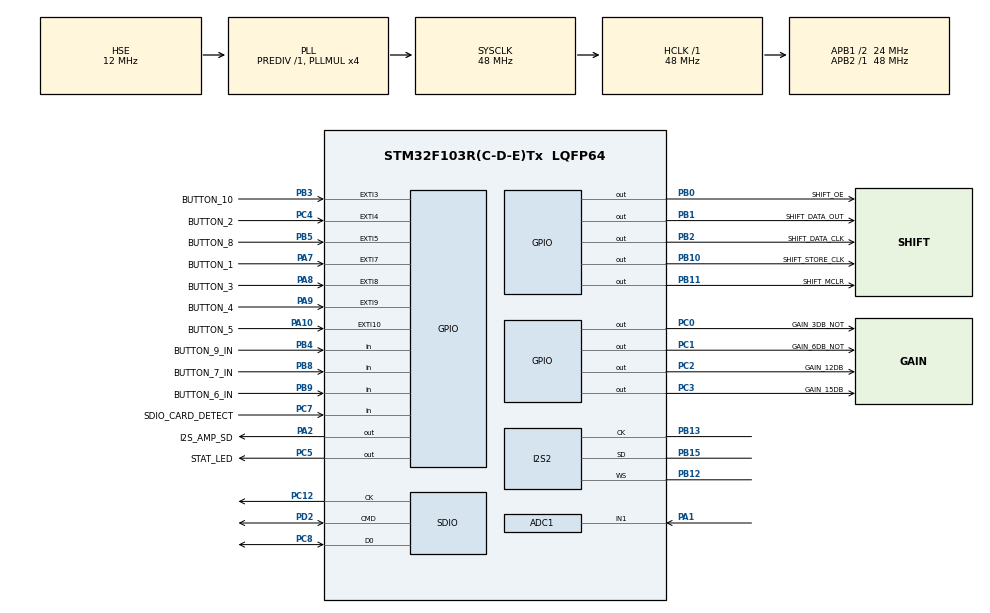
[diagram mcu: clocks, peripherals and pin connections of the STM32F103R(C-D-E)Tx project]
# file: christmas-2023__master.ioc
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ADC1.Channel-0\#ChannelRegularConversion=ADC_CHANNEL_1
ADC1.NbrOfConversionFlag=1
ADC1.Rank-0\#ChannelRegularConversion=1
ADC1.SamplingTime-0\#ChannelRegularConversion=ADC_SAMPLETIME_1CYCLE_5
ADC1.master=1
FATFS.BSP.number=1
FATFS0.BSP.STBoard=false
FATFS0.BSP.api=Unknown
FATFS0.BSP.instance=PC7
FATFS0.BSP.ip=GPIO
FATFS0.BSP.mode=Input
FATFS0.BSP.name=Detect_SDIO
FATFS0.BSP.solution=PC7
I2S2.AudioFreq=I2S_AUDIOFREQ_44K
I2S2.ErrorAudioFreq=0.26 %
I2S2.Instance=SPI$Index
I2S2.RealAudioFreq=44.117 KHz
I2S2.VirtualMode=I2S_MODE_MASTER
Mcu.Family=STM32F1
Mcu.Name=STM32F103R(C-D-E)Tx
Mcu.Package=LQFP64
NVIC.EXTI15_10_IRQn=true\:3\:0\:true\:false\:true\:true\:true\:true
NVIC.EXTI3_IRQn=true\:3\:0\:true\:false\:true\:true\:true\:true
NVIC.EXTI4_IRQn=true\:3\:0\:true\:false\:true\:true\:true\:true
NVIC.EXTI9_5_IRQn=true\:3\:0\:true\:false\:true\:true\:true\:true
NVIC.PriorityGroup=NVIC_PRIORITYGROUP_4
NVIC.SPI2_IRQn=true\:2\:0\:true\:false\:true\:true\:true\:true
NVIC.TIM4_IRQn=true\:0\:0\:false\:false\:true\:true\:true\:true
PA1.Signal=ADCx_IN1
PA10.GPIO_Label=BUTTON_5
PA10.GPIO_PuPd=GPIO_PULLUP
PA10.Signal=GPXTI10
PA13.Mode=Serial_Wire
PA13.Signal=SYS_JTMS-SWDIO
PA14.Mode=Serial_Wire
PA14.Signal=SYS_JTCK-SWCLK
PA2.GPIO_Label=I2S_AMP_SD
PA2.GPIO_PuPd=GPIO_NOPULL
PA2.Signal=GPIO_Output
PA7.GPIO_Label=BUTTON_1
PA7.GPIO_PuPd=GPIO_PULLUP
PA7.Signal=GPXTI7
PA8.GPIO_Label=BUTTON_3
PA8.GPIO_PuPd=GPIO_PULLUP
PA8.Signal=GPXTI8
PA9.GPIO_Label=BUTTON_4
PA9.GPIO_PuPd=GPIO_PULLUP
PA9.Signal=GPXTI9
PB0.GPIO_Label=SHIFT_OE
PB0.Signal=GPIO_Output
PB1.GPIO_Label=SHIFT_DATA_OUT
PB1.Signal=GPIO_Output
PB10.GPIO_Label=SHIFT_STORE_CLK
PB10.Signal=GPIO_Output
PB11.GPIO_Label=SHIFT_MCLR
PB11.Signal=GPIO_Output
PB12.Mode=Half_Duplex_Master_TX
PB12.Signal=I2S2_WS
PB13.Mode=Half_Duplex_Master_TX
PB13.Signal=I2S2_CK
PB15.Mode=Half_Duplex_Master_TX
PB15.Signal=I2S2_SD
PB2.GPIO_Label=SHIFT_DATA_CLK
PB2.Signal=GPIO_Output
PB3.GPIO_Label=BUTTON_10
PB3.GPIO_PuPd=GPIO_PULLUP
PB3.Signal=GPXTI3
PB4.GPIO_Label=BUTTON_9_IN
PB4.GPIO_PuPd=GPIO_PULLUP
PB4.Signal=GPIO_Input
PB5.GPIO_Label=BUTTON_8
PB5.GPIO_PuPd=GPIO_PULLUP
PB5.Signal=GPXTI5
PB8.GPIO_Label=BUTTON_7_IN
PB8.GPIO_PuPd=GPIO_PULLUP
PB8.Signal=GPIO_Input
PB9.GPIO_Label=BUTTON_6_IN
PB9.GPIO_PuPd=GPIO_PULLUP
PB9.Signal=GPIO_Input
PC0.GPIO_Label=GAIN_3DB_NOT
PC0.PinState=GPIO_PIN_SET
PC0.Signal=GPIO_Output
PC1.GPIO_Label=GAIN_6DB_NOT
PC1.PinState=GPIO_PIN_SET
PC1.Signal=GPIO_Output
PC12.Mode=SD_1_bit
PC12.Signal=SDIO_CK
PC2.GPIO_Label=GAIN_12DB
PC2.Signal=GPIO_Output
PC3.GPIO_Label=GAIN_15DB
PC3.Signal=GPIO_Output
PC4.GPIO_Label=BUTTON_2
PC4.GPIO_PuPd=GPIO_PULLUP
PC4.Signal=GPXTI4
PC5.GPIO_Label=STAT_LED
PC5.Signal=GPIO_Output
PC7.GPIO_Label=SDIO_CARD_DETECT
PC7.GPIO_PuPd=GPIO_NOPULL
PC7.Signal=GPIO_Input
PC8.Mode=SD_1_bit
PC8.Signal=SDIO_D0
PD0-OSC_IN.Mode=HSE-External-Oscillator
PD0-OSC_IN.Signal=RCC_OSC_IN
PD1-OSC_OUT.Mode=HSE-External-Oscillator
PD1-OSC_OUT.Signal=RCC_OSC_OUT
PD2.Mode=SD_1_bit
PD2.Signal=SDIO_CMD
ProjectManager.HeapSize=0x200
ProjectManager.StackSize=0x400
ProjectManager.TargetToolchain=STM32CubeIDE
RCC.ADCPresc=RCC_ADCPCLK2_DIV6
RCC.AHBFreq_Value=48000000
RCC.APB1CLKDivider=RCC_HCLK_DIV2
RCC.APB1Freq_Value=24000000
RCC.APB1TimFreq_Value=48000000
RCC.APB2Freq_Value=48000000
RCC.APB2TimFreq_Value=48000000
RCC.HCLKFreq_Value=48000000
RCC.HSE_VALUE=12000000
RCC.PLLMUL=RCC_PLL_MUL4
RCC.PLLSourceVirtual=RCC_PLLSOURCE_HSE
RCC.SYSCLKFreq_VALUE=48000000
RCC.SYSCLKSource=RCC_SYSCLKSOURCE_PLLCLK
RCC.USBFreq_Value=48000000
SDIO.ClockDiv=4
SH.ADCx_IN1.0=ADC1_IN1,IN1
TIM4.Period=999
TIM4.Prescaler=9601-1
VP_FATFS_VS_SDIO.Mode=SDIO
VP_TIM4_VS_ClockSourceINT.Mode=Internal
board=custom

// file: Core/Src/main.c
/* USER CODE BEGIN Header */
/**
  ******************************************************************************
  * @file           : main.c
  * @brief          : Main program body
  ******************************************************************************
  * @attention
  *
  * Copyright (c) 2023 STMicroelectronics.
  * All rights reserved.
  *
  * This software is licensed under terms that can be found in the LICENSE file
  * in the root directory of this software component.
  * If no LICENSE file comes with this software, it is provided AS-IS.
  *
  ******************************************************************************
  */
/* USER CODE END Header */
#include "main.h"
#include "fatfs.h"

/* USER CODE BEGIN Includes */

#include <string.h>
#include <stdlib.h>
#include <stdbool.h>
#include <stdio.h>
#include "wav.h"
#include <stdarg.h>
#include <math.h>

/* USER CODE END Includes */

ADC_HandleTypeDef hadc1;

I2S_HandleTypeDef hi2s2;

SD_HandleTypeDef hsd;

TIM_HandleTypeDef htim4;

/* USER CODE BEGIN PV */

// Debug LED on PCB
const uint16_t debugLED = GPIO_PIN_5;		// Port C

/*
 * Shift register Pins
 */
uint16_t shiftData = GPIO_PIN_1;			// Port B
uint16_t shiftDataClock = GPIO_PIN_2; 		// Port B
uint16_t shiftStoreClock = GPIO_PIN_10;		// Port B
uint16_t shiftOutputEnable = GPIO_PIN_0;	// Port B
uint16_t shiftMCLR = GPIO_PIN_11;			// Port B

// ADC Pin
uint16_t ADC_IN = GPIO_PIN_1; 				// Port A

// Button Input Pins
uint16_t buttonIn_1 = GPIO_PIN_7;			// Port A
uint16_t buttonIn_2 = GPIO_PIN_4;			// Port C
uint16_t buttonIn_3 = GPIO_PIN_8;			// Port	A
uint16_t buttonIn_4 = GPIO_PIN_9;			// Port A
uint16_t buttonIn_5 = GPIO_PIN_10;			// Port A
uint16_t buttonIn_6 = GPIO_PIN_9;			// Port B
uint16_t buttonIn_7 = GPIO_PIN_8;			// Port B
uint16_t buttonIn_8 = GPIO_PIN_5;			// Port B
uint16_t buttonIn_9 = GPIO_PIN_4;			// Port B
uint16_t buttonIn_10 = GPIO_PIN_3;			// Port B

// Amplifier Gain Control Pins
uint16_t gain_3DB_N = GPIO_PIN_0;			// Port C
uint16_t gain_6DB_N = GPIO_PIN_1;			// Port C
uint16_t gain_12DB = GPIO_PIN_2;			// Port C
uint16_t gain_15DB = GPIO_PIN_3;			// Port C

// For setting GPIO high or low in a more pretty fashion
GPIO_PinState GPIOPinSet[2] = {GPIO_PIN_RESET, GPIO_PIN_SET};

// Play index keeps track of which wav file should be
// played on the next playWavFile() call
static uint8_t playIndex = 0;

/*
 *  Volume keeps track of which amplifier gain should be selected
 *  Will take on values in the range 0-4
 *  0 = 3dB
 *  1 = 6dB
 *  2 = 9dB
 *  3 = 12dB
 *  4 = 15dB
 */
static uint8_t volume = 2;

/*
 * Array of all possible LED volume bar values that
 * might be shifted into the shift register.
 * Ordered highest volume display to lowest volume display
 */
static uint8_t shiftBytes[8] = {0b10000000, 0b01000000, 0b00100000, 0b00010000,
								0b00001000, 0b00000100, 0b00000010, 0b00000001};

/* USER CODE END PV */

void SystemClock_Config(void);
static void MX_GPIO_Init(void);
static void MX_SDIO_SD_Init(void);
static void MX_I2S2_Init(void);
static void MX_ADC1_Init(void);
static void MX_TIM4_Init(void);

/* USER CODE BEGIN 0 */

FATFS fs;						// Object to set up FATFS on SD card

/*
 * flags and buffers for data loading and transmission
 */
volatile bool end_of_file_reached = false;
volatile bool read_next_chunk = false;
volatile uint16_t* signal_play_buff = NULL;
volatile uint16_t* signal_read_buff = NULL;
volatile uint16_t signal_buff1[4096];
volatile uint16_t signal_buff2[4096];

/*
 * All 11 strings of file names
 * fileNames[0] = short, silent wav file that plays when idling
 * fileNames[1-10] = movie soundbites, ordered based on button order
 */

char *fileNames[] = {"blank.wav", "yard.wav", "shit.wav", "gift.wav", "nut.wav", "grace.wav",
					"dump.wav", "treeBig.wav", "kma.wav", "wint.wav", "rant.wav"};

/*
 * Callback function for I2S TX completion
 * Enters upon I2S global interrupt
 * Transmits another chunk of data
 */
void HAL_I2S_TxCpltCallback(I2S_HandleTypeDef *hi2s) {
    if(end_of_file_reached)
        return;

    volatile uint16_t* temp = signal_play_buff;
    signal_play_buff = signal_read_buff;
    signal_read_buff = temp;

    int nsamples = sizeof(signal_buff1) / sizeof(signal_buff1[0]);
    HAL_I2S_Transmit_IT(&hi2s2, (uint16_t*)signal_play_buff, nsamples);
    read_next_chunk = true;
}

/*
 * - Opens file with file name of passed argument using f_open()
 * - Checks WAV file header format and data structuring,
 *   returns EXIT_FAILURE if a file cannot be played.
 * - Transmits data using I2S TX IT function,
 *   which will enter the TX Cplt callback function to transmit another chunk of data
 * - Enters a loop to move the file pointer when I2S is available to TX more data
 */
int playWavFile(const char* fname) {

    FIL file;
    FRESULT res = f_open(&file, fname, FA_READ);
    if(res != FR_OK) {
        return EXIT_FAILURE;
    }

    unsigned int bytesRead;
    uint8_t header[44];
    res = f_read(&file, header, sizeof(header), &bytesRead);
    if(res != FR_OK) {
        f_close(&file);
        return EXIT_FAILURE;
    }

    if(memcmp((const char*)header, "RIFF", 4) != 0) {
        f_close(&file);
        return EXIT_FAILURE;
    }

    if(memcmp((const char*)header + 8, "WAVEfmt ", 8) != 0) {
        f_close(&file);
        return EXIT_FAILURE;
    }

    if(memcmp((const char*)header + 36, "data", 4) != 0) {
        f_close(&file);
        return EXIT_FAILURE;
    }

//    uint32_t fileSize = 8 + (header[4] | (header[5] << 8) | (header[6] << 16) | (header[7] << 24));
    uint32_t headerSizeLeft = header[16] | (header[17] << 8) | (header[18] << 16) | (header[19] << 24);
    uint16_t compression = header[20] | (header[21] << 8);
    uint16_t channelsNum = header[22] | (header[23] << 8);
    uint32_t sampleRate = header[24] | (header[25] << 8) | (header[26] << 16) | (header[27] << 24);
    uint32_t bytesPerSecond = header[28] | (header[29] << 8) | (header[30] << 16) | (header[31] << 24);
    uint16_t bytesPerSample = header[32] | (header[33] << 8);
    uint16_t bitsPerSamplePerChannel = header[34] | (header[35] << 8);
    uint32_t dataSize = header[40] | (header[41] << 8) | (header[42] << 16) | (header[43] << 24);

//    UART_Printf(
//        "--- WAV header ---\r\n"
//        "File size: %lu\r\n"
//        "Header size left: %lu\r\n"
//        "Compression (1 = no compression): %d\r\n"
//        "Channels num: %d\r\n"
//        "Sample rate: %ld\r\n"
//        "Bytes per second: %ld\r\n"
//        "Bytes per sample: %d\r\n"
//        "Bits per sample per channel: %d\r\n"
//        "Data size: %ld\r\n"
//        "------------------\r\n",
//        fileSize, headerSizeLeft, compression, channelsNum, sampleRate, bytesPerSecond, bytesPerSample,
//        bitsPerSamplePerChannel, dataSize);

    if(headerSizeLeft != 16) {
        //UART_Printf("Wrong `headerSizeLeft` value, 16 expected\r\n");
        f_close(&file);
        return EXIT_FAILURE;
    }

    if(compression != 1) {
        //UART_Printf("Wrong `compression` value, 1 expected\r\n");
        f_close(&file);
        return EXIT_FAILURE;
    }

    if(channelsNum != 2) {
        //UART_Printf("Wrong `channelsNum` value, 2 expected\r\n");
        f_close(&file);
        return EXIT_FAILURE;
    }

    if((sampleRate != 44100) || (bytesPerSample != 4) || (bitsPerSamplePerChannel != 16) || (bytesPerSecond != 44100*2*2)
       || (dataSize < sizeof(signal_buff1) + sizeof(signal_buff2))) {
        //UART_Printf("Wrong file format, 16 bit file with sample rate 44100 expected\r\n");
        f_close(&file);
        return EXIT_FAILURE;
    }

    res = f_read(&file, (uint8_t*)signal_buff1, sizeof(signal_buff1), &bytesRead);
    if(res != FR_OK) {
        //UART_Printf("f_read() failed, res = %d\r\n", res);
        f_close(&file);
        return EXIT_FAILURE;
    }

    res = f_read(&file, (uint8_t*)signal_buff2, sizeof(signal_buff2), &bytesRead);
    if(res != FR_OK) {
        //UART_Printf("f_read() failed, res = %d\r\n", res);
        f_close(&file);
        return EXIT_FAILURE;
    }

    read_next_chunk = true;
    end_of_file_reached = false;
    signal_play_buff = signal_buff1;
    signal_read_buff = signal_buff2;

    HAL_StatusTypeDef hal_res;
    int nsamples = sizeof(signal_buff1) / sizeof(signal_buff1[0]);
    hal_res = HAL_I2S_Transmit_IT(&hi2s2, (uint16_t*)signal_buff1, nsamples);
    // hal_res = HAL_I2S_Transmit(&hi2s2, (uint16_t*)signal_buff1, nsamples, 2000);
    if(hal_res != HAL_OK) {
        //UART_Printf("I2S - HAL_I2S_Transmit failed, hal_res = %d!\r\n", hal_res);
        f_close(&file);
        return EXIT_FAILURE;
    }

    while(dataSize >= sizeof(signal_buff1)) {
        if(!read_next_chunk) {
            continue;
        }

        read_next_chunk = false;

        res = f_read(&file, (uint8_t*)signal_read_buff, sizeof(signal_buff1), &bytesRead);
        if(res != FR_OK) {
            //UART_Printf("f_read() failed, res = %d\r\n", res);
            f_close(&file);
            return EXIT_FAILURE;
        }

        dataSize -= sizeof(signal_buff1);
    }

    end_of_file_reached = true;

    res = f_close(&file);
    if(res != FR_OK) {
        //UART_Printf("f_close() failed, res = %d\r\n", res);
        return EXIT_FAILURE;
    }

    playIndex = 0;

    return 0;
}

/* USER CODE END 0 */

int main(void)
{

  /* MCU Configuration--------------------------------------------------------*/

  /* Reset of all peripherals, Initializes the Flash interface and the Systick. */
  HAL_Init();

  /* Configure the system clock */
  SystemClock_Config();

  /* Initialize all configured peripherals */
  MX_GPIO_Init();
  MX_SDIO_SD_Init();
  MX_FATFS_Init();
  MX_I2S2_Init();
  MX_ADC1_Init();
  MX_TIM4_Init();
  /* USER CODE BEGIN 2 */

  // Calibrate ADC
  HAL_ADCEx_Calibration_Start(&hadc1);

  // Start timer to check ADC on interrupts
  HAL_TIM_Base_Start_IT(&htim4);

  // Clear any existing shift register data
  	HAL_GPIO_WritePin(GPIOB, shiftMCLR, GPIOPinSet[0]);
  	HAL_GPIO_WritePin(GPIOB, shiftMCLR, GPIOPinSet[1]);

  	// Store cleared data and Enable output
  	HAL_GPIO_WritePin(GPIOB, shiftStoreClock, GPIOPinSet[1]);
  	HAL_GPIO_WritePin(GPIOB, shiftStoreClock, GPIOPinSet[0]);
  	HAL_GPIO_WritePin(GPIOB, shiftOutputEnable, GPIOPinSet[0]);

  	// Initialize FAT file system within SD card
    FRESULT res = f_mount(&fs, "XMAS-23", 1);
	 if(res != FR_OK) {
	   return EXIT_FAILURE;
	 }

  /* USER CODE END 2 */

  /* Infinite loop */
  /* USER CODE BEGIN WHILE */
  while (1)
  {

	  /*
	   * Always play WavFile, which is usually blank.wav
	   * playIndex is changed by GPIO EXTI handler
	   */
	  playWavFile(fileNames[playIndex]);
	  if (HAL_I2S_Init(&hi2s2) != HAL_OK)
		   Error_Handler();

	  /*
	   * Some GPIOs in Mk. I are incompatible with EXTI,
	   * so they require loop checking
	   */
	  if(HAL_GPIO_ReadPin(GPIOB, buttonIn_6) == GPIOPinSet[0]) {
		  playIndex = 6;
	  }
	  if(HAL_GPIO_ReadPin(GPIOB, buttonIn_7) == GPIOPinSet[0]) {
		  playIndex = 7;
	  }
	  if(HAL_GPIO_ReadPin(GPIOB, buttonIn_9) == GPIOPinSet[0]) {
		  playIndex = 9;
	  }

    /* USER CODE END WHILE */

  }
}

void SystemClock_Config(void)
{
  RCC_OscInitTypeDef RCC_OscInitStruct = {0};
  RCC_ClkInitTypeDef RCC_ClkInitStruct = {0};
  RCC_PeriphCLKInitTypeDef PeriphClkInit = {0};

  /** Initializes the RCC Oscillators according to the specified parameters
  * in the RCC_OscInitTypeDef structure.
  */
  RCC_OscInitStruct.OscillatorType = RCC_OSCILLATORTYPE_HSE;
  RCC_OscInitStruct.HSEState = RCC_HSE_ON;
  RCC_OscInitStruct.HSEPredivValue = RCC_HSE_PREDIV_DIV1;
  RCC_OscInitStruct.HSIState = RCC_HSI_ON;
  RCC_OscInitStruct.PLL.PLLState = RCC_PLL_ON;
  RCC_OscInitStruct.PLL.PLLSource = RCC_PLLSOURCE_HSE;
  RCC_OscInitStruct.PLL.PLLMUL = RCC_PLL_MUL4;
  if (HAL_RCC_OscConfig(&RCC_OscInitStruct) != HAL_OK)
  {
    Error_Handler();
  }

  /** Initializes the CPU, AHB and APB buses clocks
  */
  RCC_ClkInitStruct.ClockType = RCC_CLOCKTYPE_HCLK|RCC_CLOCKTYPE_SYSCLK
                              |RCC_CLOCKTYPE_PCLK1|RCC_CLOCKTYPE_PCLK2;
  RCC_ClkInitStruct.SYSCLKSource = RCC_SYSCLKSOURCE_PLLCLK;
  RCC_ClkInitStruct.AHBCLKDivider = RCC_SYSCLK_DIV1;
  RCC_ClkInitStruct.APB1CLKDivider = RCC_HCLK_DIV2;
  RCC_ClkInitStruct.APB2CLKDivider = RCC_HCLK_DIV1;

  if (HAL_RCC_ClockConfig(&RCC_ClkInitStruct, FLASH_LATENCY_1) != HAL_OK)
  {
    Error_Handler();
  }
  PeriphClkInit.PeriphClockSelection = RCC_PERIPHCLK_ADC|RCC_PERIPHCLK_I2S2;
  PeriphClkInit.AdcClockSelection = RCC_ADCPCLK2_DIV6;
  PeriphClkInit.I2s2ClockSelection = RCC_I2S2CLKSOURCE_SYSCLK;
  if (HAL_RCCEx_PeriphCLKConfig(&PeriphClkInit) != HAL_OK)
  {
    Error_Handler();
  }
}

static void MX_ADC1_Init(void)
{

  ADC_ChannelConfTypeDef sConfig = {0};

  /** Common config
  */
  hadc1.Instance = ADC1;
  hadc1.Init.ScanConvMode = ADC_SCAN_DISABLE;
  hadc1.Init.ContinuousConvMode = DISABLE;
  hadc1.Init.DiscontinuousConvMode = DISABLE;
  hadc1.Init.ExternalTrigConv = ADC_SOFTWARE_START;
  hadc1.Init.DataAlign = ADC_DATAALIGN_RIGHT;
  hadc1.Init.NbrOfConversion = 1;
  if (HAL_ADC_Init(&hadc1) != HAL_OK)
  {
    Error_Handler();
  }

  /** Configure Regular Channel
  */
  sConfig.Channel = ADC_CHANNEL_1;
  sConfig.Rank = ADC_REGULAR_RANK_1;
  sConfig.SamplingTime = ADC_SAMPLETIME_1CYCLE_5;
  if (HAL_ADC_ConfigChannel(&hadc1, &sConfig) != HAL_OK)
  {
    Error_Handler();
  }

}

static void MX_I2S2_Init(void)
{

  hi2s2.Instance = SPI2;
  hi2s2.Init.Mode = I2S_MODE_MASTER_TX;
  hi2s2.Init.Standard = I2S_STANDARD_PHILIPS;
  hi2s2.Init.DataFormat = I2S_DATAFORMAT_16B;
  hi2s2.Init.MCLKOutput = I2S_MCLKOUTPUT_DISABLE;
  hi2s2.Init.AudioFreq = I2S_AUDIOFREQ_44K;
  hi2s2.Init.CPOL = I2S_CPOL_LOW;
  if (HAL_I2S_Init(&hi2s2) != HAL_OK)
  {
    Error_Handler();
  }

}

static void MX_SDIO_SD_Init(void)
{

  hsd.Instance = SDIO;
  hsd.Init.ClockEdge = SDIO_CLOCK_EDGE_RISING;
  hsd.Init.ClockBypass = SDIO_CLOCK_BYPASS_DISABLE;
  hsd.Init.ClockPowerSave = SDIO_CLOCK_POWER_SAVE_DISABLE;
  hsd.Init.BusWide = SDIO_BUS_WIDE_1B;
  hsd.Init.HardwareFlowControl = SDIO_HARDWARE_FLOW_CONTROL_DISABLE;
  hsd.Init.ClockDiv = 4;

}

static void MX_TIM4_Init(void)
{

  TIM_ClockConfigTypeDef sClockSourceConfig = {0};
  TIM_MasterConfigTypeDef sMasterConfig = {0};

  htim4.Instance = TIM4;
  htim4.Init.Prescaler = 9601-1;
  htim4.Init.CounterMode = TIM_COUNTERMODE_UP;
  htim4.Init.Period = 999;
  htim4.Init.ClockDivision = TIM_CLOCKDIVISION_DIV1;
  htim4.Init.AutoReloadPreload = TIM_AUTORELOAD_PRELOAD_DISABLE;
  if (HAL_TIM_Base_Init(&htim4) != HAL_OK)
  {
    Error_Handler();
  }
  sClockSourceConfig.ClockSource = TIM_CLOCKSOURCE_INTERNAL;
  if (HAL_TIM_ConfigClockSource(&htim4, &sClockSourceConfig) != HAL_OK)
  {
    Error_Handler();
  }
  sMasterConfig.MasterOutputTrigger = TIM_TRGO_RESET;
  sMasterConfig.MasterSlaveMode = TIM_MASTERSLAVEMODE_DISABLE;
  if (HAL_TIMEx_MasterConfigSynchronization(&htim4, &sMasterConfig) != HAL_OK)
  {
    Error_Handler();
  }

}

static void MX_GPIO_Init(void)
{
  GPIO_InitTypeDef GPIO_InitStruct = {0};

  /* GPIO Ports Clock Enable */
  __HAL_RCC_GPIOD_CLK_ENABLE();
  __HAL_RCC_GPIOC_CLK_ENABLE();
  __HAL_RCC_GPIOA_CLK_ENABLE();
  __HAL_RCC_GPIOB_CLK_ENABLE();

  /*Configure GPIO pin Output Level */
  HAL_GPIO_WritePin(GPIOC, GAIN_3DB_NOT_Pin|GAIN_6DB_NOT_Pin, GPIO_PIN_SET);

  /*Configure GPIO pin Output Level */
  HAL_GPIO_WritePin(GPIOC, GAIN_12DB_Pin|GAIN_15DB_Pin|STAT_LED_Pin, GPIO_PIN_RESET);

  /*Configure GPIO pin Output Level */
  HAL_GPIO_WritePin(I2S_AMP_SD_GPIO_Port, I2S_AMP_SD_Pin, GPIO_PIN_RESET);

  /*Configure GPIO pin Output Level */
  HAL_GPIO_WritePin(GPIOB, SHIFT_OE_Pin|SHIFT_DATA_OUT_Pin|SHIFT_DATA_CLK_Pin|SHIFT_STORE_CLK_Pin
                          |SHIFT_MCLR_Pin, GPIO_PIN_RESET);

  /*Configure GPIO pins : GAIN_3DB_NOT_Pin GAIN_6DB_NOT_Pin GAIN_12DB_Pin GAIN_15DB_Pin
                           STAT_LED_Pin */
  GPIO_InitStruct.Pin = GAIN_3DB_NOT_Pin|GAIN_6DB_NOT_Pin|GAIN_12DB_Pin|GAIN_15DB_Pin
                          |STAT_LED_Pin;
  GPIO_InitStruct.Mode = GPIO_MODE_OUTPUT_PP;
  GPIO_InitStruct.Pull = GPIO_NOPULL;
  GPIO_InitStruct.Speed = GPIO_SPEED_FREQ_LOW;
  HAL_GPIO_Init(GPIOC, &GPIO_InitStruct);

  /*Configure GPIO pin : I2S_AMP_SD_Pin */
  GPIO_InitStruct.Pin = I2S_AMP_SD_Pin;
  GPIO_InitStruct.Mode = GPIO_MODE_OUTPUT_PP;
  GPIO_InitStruct.Pull = GPIO_NOPULL;
  GPIO_InitStruct.Speed = GPIO_SPEED_FREQ_LOW;
  HAL_GPIO_Init(I2S_AMP_SD_GPIO_Port, &GPIO_InitStruct);

  /*Configure GPIO pins : BUTTON_1_Pin BUTTON_3_Pin BUTTON_4_Pin BUTTON_5_Pin */
  GPIO_InitStruct.Pin = BUTTON_1_Pin|BUTTON_3_Pin|BUTTON_4_Pin|BUTTON_5_Pin;
  GPIO_InitStruct.Mode = GPIO_MODE_IT_RISING;
  GPIO_InitStruct.Pull = GPIO_PULLUP;
  HAL_GPIO_Init(GPIOA, &GPIO_InitStruct);

  /*Configure GPIO pin : BUTTON_2_Pin */
  GPIO_InitStruct.Pin = BUTTON_2_Pin;
  GPIO_InitStruct.Mode = GPIO_MODE_IT_RISING;
  GPIO_InitStruct.Pull = GPIO_PULLUP;
  HAL_GPIO_Init(BUTTON_2_GPIO_Port, &GPIO_InitStruct);

  /*Configure GPIO pins : SHIFT_OE_Pin SHIFT_DATA_OUT_Pin SHIFT_DATA_CLK_Pin SHIFT_STORE_CLK_Pin
                           SHIFT_MCLR_Pin */
  GPIO_InitStruct.Pin = SHIFT_OE_Pin|SHIFT_DATA_OUT_Pin|SHIFT_DATA_CLK_Pin|SHIFT_STORE_CLK_Pin
                          |SHIFT_MCLR_Pin;
  GPIO_InitStruct.Mode = GPIO_MODE_OUTPUT_PP;
  GPIO_InitStruct.Pull = GPIO_NOPULL;
  GPIO_InitStruct.Speed = GPIO_SPEED_FREQ_LOW;
  HAL_GPIO_Init(GPIOB, &GPIO_InitStruct);

  /*Configure GPIO pin : SDIO_CARD_DETECT_Pin */
  GPIO_InitStruct.Pin = SDIO_CARD_DETECT_Pin;
  GPIO_InitStruct.Mode = GPIO_MODE_INPUT;
  GPIO_InitStruct.Pull = GPIO_NOPULL;
  HAL_GPIO_Init(SDIO_CARD_DETECT_GPIO_Port, &GPIO_InitStruct);

  /*Configure GPIO pins : BUTTON_10_Pin BUTTON_8_Pin */
  GPIO_InitStruct.Pin = BUTTON_10_Pin|BUTTON_8_Pin;
  GPIO_InitStruct.Mode = GPIO_MODE_IT_RISING;
  GPIO_InitStruct.Pull = GPIO_PULLUP;
  HAL_GPIO_Init(GPIOB, &GPIO_InitStruct);

  /*Configure GPIO pins : BUTTON_9_IN_Pin BUTTON_7_IN_Pin BUTTON_6_IN_Pin */
  GPIO_InitStruct.Pin = BUTTON_9_IN_Pin|BUTTON_7_IN_Pin|BUTTON_6_IN_Pin;
  GPIO_InitStruct.Mode = GPIO_MODE_INPUT;
  GPIO_InitStruct.Pull = GPIO_PULLUP;
  HAL_GPIO_Init(GPIOB, &GPIO_InitStruct);

  /* EXTI interrupt init*/
  HAL_NVIC_SetPriority(EXTI3_IRQn, 3, 0);
  HAL_NVIC_EnableIRQ(EXTI3_IRQn);

  HAL_NVIC_SetPriority(EXTI4_IRQn, 3, 0);
  HAL_NVIC_EnableIRQ(EXTI4_IRQn);

  HAL_NVIC_SetPriority(EXTI9_5_IRQn, 3, 0);
  HAL_NVIC_EnableIRQ(EXTI9_5_IRQn);

  HAL_NVIC_SetPriority(EXTI15_10_IRQn, 3, 0);
  HAL_NVIC_EnableIRQ(EXTI15_10_IRQn);

}

/* USER CODE BEGIN 4 */

void HAL_GPIO_EXTI_Callback(uint16_t GPIO_Pin) {

	if(GPIO_Pin == buttonIn_1)
		playIndex = 1;
	else if(GPIO_Pin == buttonIn_2)
		playIndex = 2;
	else if(GPIO_Pin == buttonIn_3)
		playIndex = 3;
	else if(GPIO_Pin == buttonIn_4)
		playIndex = 4;
	else if(GPIO_Pin == buttonIn_5)
		playIndex = 5;
	else if(GPIO_Pin == buttonIn_6)
		playIndex = 6;
	else if(GPIO_Pin == buttonIn_7)
		playIndex = 7;
	else if(GPIO_Pin == buttonIn_8)
		playIndex = 8;
	else if(GPIO_Pin == buttonIn_9)
		playIndex = 9;
	else if(GPIO_Pin == buttonIn_10)
		playIndex = 10;

}

/*
 * Necessary to reset all hardware-controlled gain FETs
 *
 * Avoids shorting power to ground through accidental
 * switching sequences
 */
void resetGains() {
	 HAL_GPIO_WritePin(GPIOC, gain_3DB_N, GPIOPinSet[1]);
	 HAL_GPIO_WritePin(GPIOC, gain_6DB_N, GPIOPinSet[1]);
	 HAL_GPIO_WritePin(GPIOC, gain_12DB, GPIOPinSet[0]);
	 HAL_GPIO_WritePin(GPIOC, gain_15DB, GPIOPinSet[0]);
}

/*
 * Shifts in passed byte of data to shift register and
 * enables parallel output
 */
void shiftNewVol(uint8_t shiftByte) {

		for(int j = 0; j < 8; j++) {

			// Write data pin with LSB of data
			HAL_GPIO_WritePin(GPIOB, shiftData, GPIOPinSet[shiftByte & 1]);

			// Toggle clock GPIO to shift bit into register
			HAL_GPIO_WritePin(GPIOB, shiftDataClock, GPIOPinSet[1]);
			HAL_GPIO_WritePin(GPIOB, shiftDataClock, GPIOPinSet[0]);

			// Once data pin has been written and shifted out, shift data right by one bit.
			shiftByte >>= 1;

		}

		// Once all data has been shifted out, toggle store clock register to display data.

		HAL_GPIO_WritePin(GPIOB, shiftStoreClock, GPIOPinSet[1]);
		HAL_GPIO_WritePin(GPIOB, shiftStoreClock, GPIOPinSet[0]);

		return;
}

/*
 * Callback: timer has rolled over and completed one period
 *
 */
void HAL_TIM_PeriodElapsedCallback(TIM_HandleTypeDef *htim)
{
  // Check which version of the timer triggered this callback
  if (htim == &htim4)
  {
	  // Start ADC Conversion
	  HAL_ADC_Start(&hadc1);

	 // Poll ADC1 Peripheral & TimeOut = 1mSec
	  HAL_ADC_PollForConversion(&hadc1, 1);

	  // Read The ADC Conversion Result & Map It To Shift register
	  // Resolution = 12 bit, 2^12 = 4096
	  uint16_t ADC_Return = HAL_ADC_GetValue(&hadc1);

	  /*
	   * Shift in new volume bar LED value
	   */
	  uint8_t shiftByteCurr = ADC_Return / (4096 / 8);
	  shiftNewVol(shiftBytes[shiftByteCurr]);

	  // Map ADC reading to volume variable
	  volume = ADC_Return / (4096 / 5);

	  switch(volume) {
	  	  case 0:			// Set gain = 3dB
	  		  resetGains();
	  		  HAL_GPIO_WritePin(GPIOC, gain_3DB_N, GPIOPinSet[0]);
	  		  break;
	  	  case 1:			// Set gain = 6dB
	  		  resetGains();
	  		  HAL_GPIO_WritePin(GPIOC, gain_6DB_N, GPIOPinSet[0]);
	  		  break;
	  	  case 2:			// Set gain = 9dB
	  		  resetGains();

	  		  break;
	  	  case 3:			// Set gain = 12dB
	  		  resetGains();
	  		  HAL_GPIO_WritePin(GPIOC, gain_12DB, GPIOPinSet[1]);
	  		  break;
	  	  case 4:			// Set gain = 15dB
	  		  resetGains();
	  		  HAL_GPIO_WritePin(GPIOC, gain_15DB, GPIOPinSet[1]);
	  		  break;
	  	  default:

	  		  break;
	  }

  }
}

/* USER CODE END 4 */

void Error_Handler(void)
{
  __disable_irq();
  while (1)
  {
  }
}
